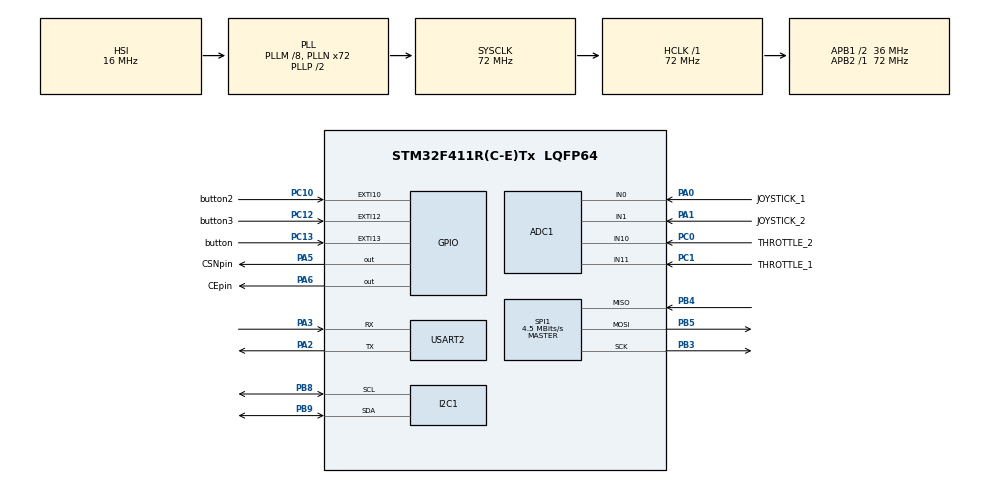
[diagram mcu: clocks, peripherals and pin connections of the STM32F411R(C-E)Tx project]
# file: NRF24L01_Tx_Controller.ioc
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ADC1.Channel-0\#ChannelRegularConversion=ADC_CHANNEL_0
ADC1.Channel-29\#ChannelRegularConversion=ADC_CHANNEL_1
ADC1.Channel-30\#ChannelRegularConversion=ADC_CHANNEL_10
ADC1.Channel-31\#ChannelRegularConversion=ADC_CHANNEL_11
ADC1.ClockPrescaler=ADC_CLOCK_SYNC_PCLK_DIV2
ADC1.ContinuousConvMode=DISABLE
ADC1.DiscontinuousConvMode=ENABLE
ADC1.InjNumberOfConversion=0
ADC1.NbrOfConversion=4
ADC1.NbrOfConversionFlag=1
ADC1.Rank-0\#ChannelRegularConversion=1
ADC1.Rank-29\#ChannelRegularConversion=2
ADC1.Rank-30\#ChannelRegularConversion=3
ADC1.Rank-31\#ChannelRegularConversion=4
ADC1.SamplingTime-0\#ChannelRegularConversion=ADC_SAMPLETIME_56CYCLES
ADC1.SamplingTime-29\#ChannelRegularConversion=ADC_SAMPLETIME_56CYCLES
ADC1.SamplingTime-30\#ChannelRegularConversion=ADC_SAMPLETIME_56CYCLES
ADC1.SamplingTime-31\#ChannelRegularConversion=ADC_SAMPLETIME_56CYCLES
ADC1.master=1
Mcu.Family=STM32F4
Mcu.Name=STM32F411R(C-E)Tx
Mcu.Package=LQFP64
NVIC.ADC_IRQn=true\:0\:0\:false\:false\:true\:true\:true
NVIC.EXTI15_10_IRQn=true\:0\:0\:false\:false\:true\:true\:true
NVIC.PriorityGroup=NVIC_PRIORITYGROUP_4
NVIC.USART2_IRQn=true\:0\:0\:false\:false\:true\:true\:true
PA0-WKUP.GPIO_Label=JOYSTICK_1
PA0-WKUP.Signal=ADCx_IN0
PA1.GPIO_Label=JOYSTICK_2
PA1.Signal=ADCx_IN1
PA13.Mode=Serial_Wire
PA13.Signal=SYS_JTMS-SWDIO
PA14.Mode=Serial_Wire
PA14.Signal=SYS_JTCK-SWCLK
PA2.Mode=Asynchronous
PA2.Signal=USART2_TX
PA3.Mode=Asynchronous
PA3.Signal=USART2_RX
PA5.GPIO_Label=CSNpin
PA5.Signal=GPIO_Output
PA6.GPIO_Label=CEpin
PA6.Signal=GPIO_Output
PB3.Mode=Full_Duplex_Master
PB3.Signal=SPI1_SCK
PB4.Mode=Full_Duplex_Master
PB4.Signal=SPI1_MISO
PB5.Mode=Full_Duplex_Master
PB5.Signal=SPI1_MOSI
PB8.Mode=I2C
PB8.Signal=I2C1_SCL
PB9.Mode=I2C
PB9.Signal=I2C1_SDA
PC0.GPIO_Label=THROTTLE_2
PC0.Signal=ADCx_IN10
PC1.GPIO_Label=THROTTLE_1
PC1.Signal=ADCx_IN11
PC10.GPIO_Label=button2
PC10.GPIO_ModeDefaultEXTI=GPIO_MODE_IT_FALLING
PC10.GPIO_PuPd=GPIO_PULLUP
PC10.Signal=GPXTI10
PC12.GPIO_Label=button3
PC12.GPIO_ModeDefaultEXTI=GPIO_MODE_IT_FALLING
PC12.GPIO_PuPd=GPIO_PULLUP
PC12.Signal=GPXTI12
PC13-ANTI_TAMP.GPIO_Label=button
PC13-ANTI_TAMP.Signal=GPXTI13
PH0\ -\ OSC_IN.Mode=HSE-External-Oscillator
PH0\ -\ OSC_IN.Signal=RCC_OSC_IN
PH1\ -\ OSC_OUT.Mode=HSE-External-Oscillator
PH1\ -\ OSC_OUT.Signal=RCC_OSC_OUT
ProjectManager.HeapSize=0x2000
ProjectManager.StackSize=0x4000
ProjectManager.TargetToolchain=EWARM V8.32
RCC.48MHZClocksFreq_Value=36000000
RCC.AHBFreq_Value=72000000
RCC.APB1CLKDivider=RCC_HCLK_DIV2
RCC.APB1Freq_Value=36000000
RCC.APB1TimFreq_Value=72000000
RCC.APB2Freq_Value=72000000
RCC.APB2TimFreq_Value=72000000
RCC.CortexFreq_Value=72000000
RCC.HCLKFreq_Value=72000000
RCC.HSE_VALUE=25000000
RCC.HSI_VALUE=16000000
RCC.LSE_VALUE=32768
RCC.PLLM=8
RCC.PLLN=72
RCC.SYSCLKFreq_VALUE=72000000
RCC.SYSCLKSource=RCC_SYSCLKSOURCE_PLLCLK
RCC.VCOOutputFreq_Value=144000000
SH.ADCx_IN0.0=ADC1_IN0,IN0
SH.ADCx_IN1.0=ADC1_IN1,IN1
SH.ADCx_IN10.0=ADC1_IN10,IN10
SH.ADCx_IN11.0=ADC1_IN11,IN11
SPI1.BaudRatePrescaler=SPI_BAUDRATEPRESCALER_16
SPI1.CalculateBaudRate=4.5 MBits/s
SPI1.Direction=SPI_DIRECTION_2LINES
SPI1.Mode=SPI_MODE_MASTER
SPI1.VirtualType=VM_MASTER
USART2.VirtualMode=VM_ASYNC
board=custom

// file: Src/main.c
/* USER CODE BEGIN Header */
/**
  ******************************************************************************
  * @file           : main.c
  * @brief          : Main program body
  ******************************************************************************
  * @attention
  *
  * <h2><center>&copy; Copyright (c) 2020 STMicroelectronics.
  * All rights reserved.</center></h2>
  *
  * This software component is licensed by ST under BSD 3-Clause license,
  * the "License"; You may not use this file except in compliance with the
  * License. You may obtain a copy of the License at:
  *                        opensource.org/licenses/BSD-3-Clause
  *
  ******************************************************************************
  */
/* USER CODE END Header */

#include "main.h"

/* USER CODE BEGIN Includes */
#include "stm32f4xx.h"
#include "tm_stm32_nrf24l01.h"
#include "tm_stm32_delay.h"
#include "nRF_Transmit.h"
#include "key_Debug.h"
#include "JOYSTICK.h"
#include "i2c-lcd.h"
//#include "tm_stm32_usart.h"
#include <stdio.h>
#include <stdlib.h>
#include <string.h>
/* USER CODE END Includes */

/* USER CODE BEGIN PD */
#define Roll_Set_Point                       'r'
#define THROTTLE                            't'
#define Pitch_Set_Point                      'p'
#define Yaw_Set_Point                       'y'

#define _Pitch                                    0
#define _Roll                                      1
#define _Yaw                                      3
#define _Throttle                                  2
#define EXTI_PIN_PC12                        4096                       // External Interrupt Pin 12
#define EXTI_PIN_PC10                        1024                       // External Interrupt Pin 10
/* USER CODE END PD */

ADC_HandleTypeDef hadc1;

I2C_HandleTypeDef hi2c1;

SPI_HandleTypeDef hspi1;

UART_HandleTypeDef huart2;

void SystemClock_Config(void);
static void MX_GPIO_Init(void);
static void MX_USART2_UART_Init(void);
static void MX_SPI1_Init(void);
static void MX_ADC1_Init(void);
static void MX_I2C1_Init(void);

/* USER CODE BEGIN 0 */

/* My address */
uint8_t MyAddress[] = {
	0xE7,
	0xE7,
	0xE7,
	0xE7,
	0xE7
};

/* Receiver address */
uint8_t TxAddress[] = {
	0x7E,
	0x7E,
	0x7E,
	0x7E,
	0x7E
};

// nRF 통신 변수//
uint8_t dataIn[8];            //  TRANSMIT DATA BUFFER

//디버깅 모드 변수//
uint8_t key_input=0;
uint8_t key_tr=0;

// ADC  변수
int8_t ADC_DATA[4];   // ADC DATA BUFFER

// Interrupt variable
uint8_t button_flag=0;          // pc13 button flag
uint8_t button_flag2=0;        // pc14 button flag
uint8_t button_flag3=0;       //  pc15 button flag

// in pid값
float In_Roll_P=0, In_Roll_I=0, In_Roll_D=0;
float In_Pitch_P=0, In_Pitch_I=0, In_Pitch_D=0;
float In_Yaw_P=0, In_Yaw_I=0, In_Yaw_D=0;

// out pid값
float Out_Roll_P=0, Out_Roll_I=0, Out_Roll_D=0;
float Out_Pitch_P=0, Out_Pitch_I=0, Out_Pitch_D=0;
float Out_Yaw_P=0, Out_Yaw_I=0, Out_Yaw_D=0;

// throttle 변수
float Throttle=0;

//SettingPoint
int Set_Point[3];       // Roll_SetPoint, Pitch_SetPoint, Yaw_SetPoint

int count=1;

int fputc(int ch ,FILE *f)
{
 HAL_UART_Transmit(&huart2,(uint8_t*)&ch,1,0xFFFF);
 return ch;
}

void Display_UI()
{
   printf("\r\n  --------------Enter Debugging Mode---------------\r\n");
   printf("  ------------------------------------------------------\r\n");
   printf("     Roll             Pitch                Yaw\r\n");
   printf("  ------------------------------------------------------\r\n");
   printf(" [1].IN_R_P : %.4f     [2].IN_P_P : %.4f      [3].IN_Y_P : %.4f\r\n",In_Roll_P,In_Pitch_P,In_Yaw_P);
   printf(" [4].IN_R_I : %.4f     [5].IN_P_I : %.4f      [6].IN_Y_I : %.4f\r\n",In_Roll_I,In_Pitch_I,In_Yaw_I);
   printf(" [7].IN_R_D : %.4f     [8].IN_P_D : %.4f      [9].IN_Y_D : %.4f\r\n",In_Roll_D,In_Pitch_D,In_Yaw_D);
   printf("  ------------------------------------------------------\r\n");
   printf(" [A].OUT_R_P : %.4f     [B].OUT_P_P : %.4f      [C].OUT_Y_P : %.4f\r\n",Out_Roll_P, Out_Pitch_P, Out_Yaw_P);
   printf(" [D].OUT_R_I : %.4f     [E].OUT_P_I : %.4f      [F].OUT_Y_I : %.4f\r\n",Out_Roll_I, Out_Pitch_I, Out_Yaw_I);
   printf(" [G].OUT_R_D : %.4f     [H].OUT_P_D : %.4f      [I].OUT_Y_D : %.4f\r\n",Out_Roll_D, Out_Pitch_D, Out_Yaw_D);
   printf("  ------------------------------------------------------\r\n");

   printf(" [T].Throttle : %.0f                         [x].ESCAPE\r\n",Throttle);
   printf(" [R].Set_Roll : %d    [P].Set_Pitch : %d    [Y].Set_Yaw : %d\r\n",Set_Point[0],Set_Point[1],Set_Point[2]);

}

void PID_THROTTLE_Transmit(uint8_t key_input, uint8_t key_tr, float* data)
{
  key_tr = key_input;
  key_input='\0';
  printf("[%c]: ",key_tr);

  Keyboard_Debug(data,key_tr);

  nRF24_Transmit(data,key_tr);
  nRF24_Transmit_Status();
  key_tr = '\0';
}

/* USER CODE END 0 */

int main(void)
{
  /* USER CODE BEGIN 1 */
  uint8_t Mode_Flag = Debug_Mode_Flag;   // START DEBUG MODE
  uint8_t test_buf[8];
  uint8_t test_buf1[15];
  float test_buf2;
  uint8_t exit_flag=0;
  uint8_t Lcd_buffer[15];

  /* USER CODE END 1 */

  /* MCU Configuration--------------------------------------------------------*/

  /* Reset of all peripherals, Initializes the Flash interface and the Systick. */
  HAL_Init();

  /* Configure the system clock */
  SystemClock_Config();

  /* Initialize all configured peripherals */
  MX_GPIO_Init();
  MX_USART2_UART_Init();
  MX_SPI1_Init();
  MX_ADC1_Init();
  MX_I2C1_Init();
  /* USER CODE BEGIN 2 */
  HAL_Delay(1);
  HAL_ADC_Start_IT(&hadc1);
  lcd_init();
  TM_NRF24L01_Init(35,15);
  TM_NRF24L01_SetRF(TM_NRF24L01_DataRate_250k, TM_NRF24L01_OutputPower_0dBm);

  /* Set my address, 5 bytes */
  TM_NRF24L01_SetMyAddress(MyAddress);

  /* Set TX address, 5 bytes */
  TM_NRF24L01_SetTxAddress(TxAddress);

  /* Reset counter */
  TM_DELAY_SetTime(2001);

  /* USER CODE END 2 */

  /* Infinite loop */
  while (1)
  {

    /* USER CODE BEGIN 3 */

    /*========================DRIVE MODE===================*/

   if(button_flag == Drive_Mode_Flag)
   {

     if(Mode_Flag==Debug_Mode_Flag){
       Print_Mode(&Mode_Flag);
     }
     //Print_ADC_DEBUG();

      // ======== Roll Set Point Transmit ======== //
       printf("Roll : %d",ADC_DATA[1]);
       sprintf((char*)Lcd_buffer,"R:%3d",ADC_DATA[1]);
       lcd_put_cur(0,0);
       lcd_send_string((char*)Lcd_buffer);

       memset(Lcd_buffer, '\0', 15);
       nRF24_Transmit_ADC(&ADC_DATA[1],Roll_Set_Point);

     //======================================//

     // ======== Throttle Transmit ======== //
       printf("   Th : %d",ADC_DATA[2]);
       sprintf((char*)Lcd_buffer,"T:%3d",ADC_DATA[2]);
       lcd_put_cur(1,6);
       lcd_send_string((char*)Lcd_buffer);

       memset(Lcd_buffer, '\0', 15);
       nRF24_Transmit_ADC(&ADC_DATA[2],THROTTLE);
     //======================================//

     // ======== Pitch Set Point Transmit ======== //
       printf("   Pitch : %d",ADC_DATA[0]);
       sprintf((char*)Lcd_buffer,"P:%3d",ADC_DATA[0]);
       lcd_put_cur(0,6);
       lcd_send_string((char*)Lcd_buffer);

       memset(Lcd_buffer, '\0', 15);
       nRF24_Transmit_ADC(&ADC_DATA[0],Pitch_Set_Point);
     //======================================//

     // ======== Yaw Set Point Transmit ========== //
       printf("   Yaw :  %d",ADC_DATA[3]);
       sprintf((char*)Lcd_buffer,"Y:%3d",ADC_DATA[3]);
       lcd_put_cur(1,0);
       lcd_send_string((char*)Lcd_buffer);

       memset(Lcd_buffer, '\0', 15);
       nRF24_Transmit_ADC(&ADC_DATA[3],Yaw_Set_Point);
     //======================================//

       printf("\r\n");
       HAL_Delay(10);

    }

   /*========================DEBUG MODE===================*/

  else if(button_flag == Debug_Mode_Flag)
  {
    lcd_put_cur(0,0);
    lcd_send_string("DEBUG MODE");

    memset(Lcd_buffer, '\0', 15);
     if(Mode_Flag==Drive_Mode_Flag){
         Print_Mode(&Mode_Flag);
     }
     lcd_clear();
     INPUT_CONTORLLER();
     INPUT_THROTTLE();
     HAL_Delay(100);
  }

   //==============KEYBOARD INPUT MODE==============//

   else if(button_flag == Key_Mode_Flag)
   {
          lcd_put_cur(0,0);
          lcd_send_string("KEYBOARD INPUT");

          memset(Lcd_buffer, '\0', 15);
          if(Mode_Flag==Key_Mode_Flag){
             Print_Mode(&Mode_Flag);
          }
          HAL_UART_Receive(&huart2,&key_input,sizeof(key_input),10);
          if(key_input == 'd')      //디버깅 모드로 진입
          {
            exit_flag=0;
            while(exit_flag ==0)
            {
 //            memset(test_buf,'\0',8);
             nRF24_Transmit_Mode_Change(key_input);
             TM_NRF24L01_PowerUpRx();
              HAL_Delay(20);
       //     if((HAL_GetTick()%20)==0)
       //     {
              TM_NRF24L01_GetData(test_buf1);

       //       test_buf2 = atof((char*)test_buf1[0]);
       //        test_buf1[1] = atof((char*)test_buf);
       //        test_buf1[2] = atof((char*)test_buf);
       //  //    printf("test : %.0f\r\n",test_buf2);

                //HAL_Delay(10);
               printf("test : %s\r\n", test_buf1);
        //    }
            memset(test_buf1,'\0',15);

//             TM_NRF24L01_PowerUpRx();
//
//             HAL_Delay(1000);
//             TM_NRF24L01_GetData(test_buf);
//            // printf("Receive data : %s",test_buf);
             Display_UI();

            while(!(HAL_UART_Receive(&huart2,&key_input,sizeof(key_input),10)==HAL_OK));
            switch(key_input)
            {

              case 't':
                 PID_THROTTLE_Transmit(key_input, key_tr, &Throttle);            // Throttle Input and Transmit
                 break;

               case 'T':
                 PID_THROTTLE_Transmit(key_input, key_tr, &Throttle);            // Throttle Input and Transmit
                 break;

             // ============================== IN PID DATA ============================== //
               case '1':
                  HAL_Delay(100);
                  PID_THROTTLE_Transmit(key_input, key_tr, &In_Roll_P);            //  IN_Roll_P Input and Transmit
                  break;

               case '2':
                  PID_THROTTLE_Transmit(key_input, key_tr, &In_Pitch_P);           // IN_Pitch_P Input and Transmit
                  break;

               case '3':
                  PID_THROTTLE_Transmit(key_input, key_tr, &In_Yaw_P);             //  IN_Yaw_P Input and Transmit
                  break;

               case '4':
                  PID_THROTTLE_Transmit(key_input, key_tr, &In_Roll_I);               //  IN_Roll_I Input and Transmit
                  break;

               case '5':
                  PID_THROTTLE_Transmit(key_input, key_tr, &In_Pitch_I);             //  IN_Pitch_I Input and Transmit
                  break;

               case '6':
                  PID_THROTTLE_Transmit(key_input, key_tr, &In_Yaw_I);              //  IN_Yaw_I Input and Transmit
                  break;

               case '7':
                  PID_THROTTLE_Transmit(key_input, key_tr, &In_Roll_D);             //  IN_Roll_D Input and Transmit
                  break;

               case '8':
                  PID_THROTTLE_Transmit(key_input, key_tr, &In_Pitch_D);           //  IN_Pitch_D Input and Transmit
                  break;

               case '9':
                  PID_THROTTLE_Transmit(key_input, key_tr, &In_Yaw_D);             //  IN_Yaw_D Input and Transmit
                  break;

              // ========================================================================= //

              // ============================== OUT PID DATA ============================== //

              case 'A':
                  PID_THROTTLE_Transmit(key_input, key_tr, &Out_Roll_P);            //  OUT_Roll_P Input and Transmit
                  break;

              case 'a':
                  PID_THROTTLE_Transmit(key_input, key_tr, &Out_Roll_P);            //  OUT_Roll_P Input and Transmit
                  break;

               case 'B':
                  PID_THROTTLE_Transmit(key_input, key_tr, &Out_Pitch_P);           // OUT_Pitch_P Input and Transmit
                  break;

               case 'b':
                  PID_THROTTLE_Transmit(key_input, key_tr, &Out_Pitch_P);           // OUT_Pitch_P Input and Transmit
                  break;

               case 'C':
                  PID_THROTTLE_Transmit(key_input, key_tr, &Out_Yaw_P);             //  OUT_Yaw_P Input and Transmit
                  break;

               case 'c':
                  PID_THROTTLE_Transmit(key_input, key_tr, &Out_Yaw_P);             //  OUT_Yaw_P Input and Transmit
                  break;

               case 'D':
                  PID_THROTTLE_Transmit(key_input, key_tr, &Out_Roll_I);              //  OUT_Roll_I Input and Transmit
                  break;

               case 'E':
                  PID_THROTTLE_Transmit(key_input, key_tr, &Out_Pitch_I);            //  OUT_Pitch_I Input and Transmit
                  break;

               case 'e':
                  PID_THROTTLE_Transmit(key_input, key_tr, &Out_Pitch_I);            //  OUT_Pitch_I Input and Transmit
                  break;

               case 'F':
                  PID_THROTTLE_Transmit(key_input, key_tr, &Out_Yaw_I);              //  OUT_Yaw_I Input and Transmit
                  break;

                case 'f':
                  PID_THROTTLE_Transmit(key_input, key_tr, &Out_Yaw_I);              //  OUT_Yaw_I Input and Transmit
                  break;

               case 'G':
                  PID_THROTTLE_Transmit(key_input, key_tr, &Out_Roll_D);             //  OUT_Roll_D Input and Transmit
                  break;

               case 'g':
                  PID_THROTTLE_Transmit(key_input, key_tr, &Out_Roll_D);             //  OUT_Roll_D Input and Transmit
                  break;

               case 'H':
                  PID_THROTTLE_Transmit(key_input, key_tr, &Out_Pitch_D);           //  OUT_Pitch_D Input and Transmit
                  break;

               case 'h':
                  PID_THROTTLE_Transmit(key_input, key_tr, &Out_Pitch_D);           //  OUT_Pitch_D Input and Transmit
                  break;

               case 'I':
                  PID_THROTTLE_Transmit(key_input, key_tr, &Out_Yaw_D);             //  OUT_Yaw_D Input and Transmit
                  break;

               case 'i':
                  PID_THROTTLE_Transmit(key_input, key_tr, &Out_Yaw_D);             //  OUT_Yaw_D Input and Transmit
                  break;

               // ========================================================================= //

                case 'q':
                  key_tr = key_input;
                  key_input='\0';

//                   while(!(HAL_UART_Receive(&huart2,&key_input,sizeof(key_input),10)==HAL_OK))
//                   {
//                      if(count <= 1000)
//                      {

                        nRF24_Transmit_ASCII(key_tr);
                        nRF24_Transmit_Status();

//                        TM_NRF24L01_PowerUpRx();
//  //                     HAL_Delay(100);
////                       if((HAL_GetTick()%20)==0)
////                       {
//                        TM_NRF24L01_GetData(test_buf1);
//
//
//                 //       test_buf2 = atof((char*)test_buf1[0]);
//                //        test_buf1[1] = atof((char*)test_buf);
//                //        test_buf1[2] = atof((char*)test_buf);
//                //  //    printf("test : %.0f\r\n",test_buf2);
//
//                      //HAL_Delay(10);
//                     printf("test : %s\r\n", test_buf1);
//                     }

//                        count++;
//                      }
//                    }
//                    count=1;

                   key_tr='\0';
                   break;

                // ============================== SET POINT DATA ============================== //

               // Roll Set Point Input and Transmit
                case 'r':
                  key_tr = key_input;
                  key_input = '\0';
                  printf("Roll_SetPoint : ");

                  Keyboard_Debug_Set_Point(&Set_Point[0]);
                  nRF24_Transmit_Set_Point(&Set_Point[0],key_tr);
                  nRF24_Transmit_Status();

                  key_tr ='\0';
                  break;

                 case 'R':
                  key_tr = key_input;
                  key_input = '\0';
                  printf("Roll_SetPoint : ");

                  Keyboard_Debug_Set_Point(&Set_Point[0]);
                  nRF24_Transmit_Set_Point(&Set_Point[0],key_tr);
                  nRF24_Transmit_Status();

                  key_tr ='\0';
                  break;

               // Pitch Set Point Input and Transmit
                case 'p':
                  key_tr = key_input;
                  key_input = '\0';
                  printf("Pitch_SetPoint : ");

                  Keyboard_Debug_Set_Point(&Set_Point[1]);
                  nRF24_Transmit_Set_Point(&Set_Point[1],key_tr);
                  nRF24_Transmit_Status();

                  key_tr ='\0';
                  break;

                case 'P':
                  key_tr = key_input;
                  key_input = '\0';
                  printf("Pitch_SetPoint : ");

                  Keyboard_Debug_Set_Point(&Set_Point[1]);
                  nRF24_Transmit_Set_Point(&Set_Point[1],key_tr);
                  nRF24_Transmit_Status();

                  key_tr ='\0';
                  break;

                // Yaw Set Point Input and Transmit
                case 'y':
                  key_tr = key_input;
                  key_input = '\0';
                  printf("Yaw_SetPoint : ");

                  Keyboard_Debug_Set_Point(&Set_Point[2]);
                  nRF24_Transmit_Set_Point(&Set_Point[2],key_tr);
                  nRF24_Transmit_Status();

                  key_tr ='\0';
                  break;

                case 'Y':
                  key_tr = key_input;
                  key_input = '\0';
                  printf("Yaw_SetPoint : ");

                  Keyboard_Debug_Set_Point(&Set_Point[2]);
                  nRF24_Transmit_Set_Point(&Set_Point[2],key_tr);
                  nRF24_Transmit_Status();

                  key_tr ='\0';
                  break;

                // ========================================================================= //

                // Exit Keyboard Debug
                case 'x':
                  key_tr = key_input;
                  key_input = '\0';

                  nRF24_Transmit_Mode_Change(key_tr);
                  //nRF24_Transmit_Status();
                  key_tr='\0';
                  Throttle=0;
                  button_flag=0;
                  exit_flag = 1;
                  lcd_clear();
                  break;

                 default:
                  printf("\r\nError Number\r\n");
                  break;
              }  // switch
            key_input = '\0';
            }   // while

          }     //   if
        }       // else if
     else
     {
       button_flag = Drive_Mode_Flag;
     }
  }
  /* USER CODE END 3 */
}

void SystemClock_Config(void)
{
  RCC_OscInitTypeDef RCC_OscInitStruct = {0};
  RCC_ClkInitTypeDef RCC_ClkInitStruct = {0};

  /** Configure the main internal regulator output voltage
  */
  __HAL_RCC_PWR_CLK_ENABLE();
  __HAL_PWR_VOLTAGESCALING_CONFIG(PWR_REGULATOR_VOLTAGE_SCALE1);
  /** Initializes the CPU, AHB and APB busses clocks
  */
  RCC_OscInitStruct.OscillatorType = RCC_OSCILLATORTYPE_HSI;
  RCC_OscInitStruct.HSIState = RCC_HSI_ON;
  RCC_OscInitStruct.HSICalibrationValue = RCC_HSICALIBRATION_DEFAULT;
  RCC_OscInitStruct.PLL.PLLState = RCC_PLL_ON;
  RCC_OscInitStruct.PLL.PLLSource = RCC_PLLSOURCE_HSI;
  RCC_OscInitStruct.PLL.PLLM = 8;
  RCC_OscInitStruct.PLL.PLLN = 72;
  RCC_OscInitStruct.PLL.PLLP = RCC_PLLP_DIV2;
  RCC_OscInitStruct.PLL.PLLQ = 4;
  if (HAL_RCC_OscConfig(&RCC_OscInitStruct) != HAL_OK)
  {
    Error_Handler();
  }
  /** Initializes the CPU, AHB and APB busses clocks
  */
  RCC_ClkInitStruct.ClockType = RCC_CLOCKTYPE_HCLK|RCC_CLOCKTYPE_SYSCLK
                              |RCC_CLOCKTYPE_PCLK1|RCC_CLOCKTYPE_PCLK2;
  RCC_ClkInitStruct.SYSCLKSource = RCC_SYSCLKSOURCE_PLLCLK;
  RCC_ClkInitStruct.AHBCLKDivider = RCC_SYSCLK_DIV1;
  RCC_ClkInitStruct.APB1CLKDivider = RCC_HCLK_DIV2;
  RCC_ClkInitStruct.APB2CLKDivider = RCC_HCLK_DIV1;

  if (HAL_RCC_ClockConfig(&RCC_ClkInitStruct, FLASH_LATENCY_2) != HAL_OK)
  {
    Error_Handler();
  }
}

static void MX_ADC1_Init(void)
{

  ADC_ChannelConfTypeDef sConfig = {0};

  /** Configure the global features of the ADC (Clock, Resolution, Data Alignment and number of conversion)
  */
  hadc1.Instance = ADC1;
  hadc1.Init.ClockPrescaler = ADC_CLOCK_SYNC_PCLK_DIV2;
  hadc1.Init.Resolution = ADC_RESOLUTION_12B;
  hadc1.Init.ScanConvMode = ENABLE;
  hadc1.Init.ContinuousConvMode = DISABLE;
  hadc1.Init.DiscontinuousConvMode = ENABLE;
  hadc1.Init.NbrOfDiscConversion = 1;
  hadc1.Init.ExternalTrigConvEdge = ADC_EXTERNALTRIGCONVEDGE_NONE;
  hadc1.Init.ExternalTrigConv = ADC_SOFTWARE_START;
  hadc1.Init.DataAlign = ADC_DATAALIGN_RIGHT;
  hadc1.Init.NbrOfConversion = 4;
  hadc1.Init.DMAContinuousRequests = DISABLE;
  hadc1.Init.EOCSelection = ADC_EOC_SINGLE_CONV;
  if (HAL_ADC_Init(&hadc1) != HAL_OK)
  {
    Error_Handler();
  }
  /** Configure for the selected ADC regular channel its corresponding rank in the sequencer and its sample time.
  */
  sConfig.Channel = ADC_CHANNEL_0;
  sConfig.Rank = 1;
  sConfig.SamplingTime = ADC_SAMPLETIME_56CYCLES;
  if (HAL_ADC_ConfigChannel(&hadc1, &sConfig) != HAL_OK)
  {
    Error_Handler();
  }
  /** Configure for the selected ADC regular channel its corresponding rank in the sequencer and its sample time.
  */
  sConfig.Channel = ADC_CHANNEL_1;
  sConfig.Rank = 2;
  if (HAL_ADC_ConfigChannel(&hadc1, &sConfig) != HAL_OK)
  {
    Error_Handler();
  }
  /** Configure for the selected ADC regular channel its corresponding rank in the sequencer and its sample time.
  */
  sConfig.Channel = ADC_CHANNEL_10;
  sConfig.Rank = 3;
  if (HAL_ADC_ConfigChannel(&hadc1, &sConfig) != HAL_OK)
  {
    Error_Handler();
  }
  /** Configure for the selected ADC regular channel its corresponding rank in the sequencer and its sample time.
  */
  sConfig.Channel = ADC_CHANNEL_11;
  sConfig.Rank = 4;
  if (HAL_ADC_ConfigChannel(&hadc1, &sConfig) != HAL_OK)
  {
    Error_Handler();
  }

}

static void MX_I2C1_Init(void)
{

  hi2c1.Instance = I2C1;
  hi2c1.Init.ClockSpeed = 100000;
  hi2c1.Init.DutyCycle = I2C_DUTYCYCLE_2;
  hi2c1.Init.OwnAddress1 = 0;
  hi2c1.Init.AddressingMode = I2C_ADDRESSINGMODE_7BIT;
  hi2c1.Init.DualAddressMode = I2C_DUALADDRESS_DISABLE;
  hi2c1.Init.OwnAddress2 = 0;
  hi2c1.Init.GeneralCallMode = I2C_GENERALCALL_DISABLE;
  hi2c1.Init.NoStretchMode = I2C_NOSTRETCH_DISABLE;
  if (HAL_I2C_Init(&hi2c1) != HAL_OK)
  {
    Error_Handler();
  }

}

static void MX_SPI1_Init(void)
{

  /* SPI1 parameter configuration*/
  hspi1.Instance = SPI1;
  hspi1.Init.Mode = SPI_MODE_MASTER;
  hspi1.Init.Direction = SPI_DIRECTION_2LINES;
  hspi1.Init.DataSize = SPI_DATASIZE_8BIT;
  hspi1.Init.CLKPolarity = SPI_POLARITY_LOW;
  hspi1.Init.CLKPhase = SPI_PHASE_1EDGE;
  hspi1.Init.NSS = SPI_NSS_SOFT;
  hspi1.Init.BaudRatePrescaler = SPI_BAUDRATEPRESCALER_16;
  hspi1.Init.FirstBit = SPI_FIRSTBIT_MSB;
  hspi1.Init.TIMode = SPI_TIMODE_DISABLE;
  hspi1.Init.CRCCalculation = SPI_CRCCALCULATION_DISABLE;
  hspi1.Init.CRCPolynomial = 10;
  if (HAL_SPI_Init(&hspi1) != HAL_OK)
  {
    Error_Handler();
  }

}

static void MX_USART2_UART_Init(void)
{

  huart2.Instance = USART2;
  huart2.Init.BaudRate = 115200;
  huart2.Init.WordLength = UART_WORDLENGTH_8B;
  huart2.Init.StopBits = UART_STOPBITS_1;
  huart2.Init.Parity = UART_PARITY_NONE;
  huart2.Init.Mode = UART_MODE_TX_RX;
  huart2.Init.HwFlowCtl = UART_HWCONTROL_NONE;
  huart2.Init.OverSampling = UART_OVERSAMPLING_16;
  if (HAL_UART_Init(&huart2) != HAL_OK)
  {
    Error_Handler();
  }

}

static void MX_GPIO_Init(void)
{
  GPIO_InitTypeDef GPIO_InitStruct = {0};

  /* GPIO Ports Clock Enable */
  __HAL_RCC_GPIOC_CLK_ENABLE();
  __HAL_RCC_GPIOH_CLK_ENABLE();
  __HAL_RCC_GPIOA_CLK_ENABLE();
  __HAL_RCC_GPIOB_CLK_ENABLE();

  /*Configure GPIO pin Output Level */
  HAL_GPIO_WritePin(GPIOA, CSNpin_Pin|CEpin_Pin, GPIO_PIN_RESET);

  /*Configure GPIO pin : button_Pin */
  GPIO_InitStruct.Pin = button_Pin;
  GPIO_InitStruct.Mode = GPIO_MODE_IT_RISING;
  GPIO_InitStruct.Pull = GPIO_NOPULL;
  HAL_GPIO_Init(button_GPIO_Port, &GPIO_InitStruct);

  /*Configure GPIO pins : CSNpin_Pin CEpin_Pin */
  GPIO_InitStruct.Pin = CSNpin_Pin|CEpin_Pin;
  GPIO_InitStruct.Mode = GPIO_MODE_OUTPUT_PP;
  GPIO_InitStruct.Pull = GPIO_NOPULL;
  GPIO_InitStruct.Speed = GPIO_SPEED_FREQ_LOW;
  HAL_GPIO_Init(GPIOA, &GPIO_InitStruct);

  /*Configure GPIO pins : button2_Pin button3_Pin */
  GPIO_InitStruct.Pin = button2_Pin|button3_Pin;
  GPIO_InitStruct.Mode = GPIO_MODE_IT_FALLING;
  GPIO_InitStruct.Pull = GPIO_PULLUP;
  HAL_GPIO_Init(GPIOC, &GPIO_InitStruct);

  /* EXTI interrupt init*/
  HAL_NVIC_SetPriority(EXTI15_10_IRQn, 0, 0);
  HAL_NVIC_EnableIRQ(EXTI15_10_IRQn);

}

/* USER CODE BEGIN 4 */

/*==================ADC CALLBACK===================*/
void HAL_ADC_ConvCpltCallback(ADC_HandleTypeDef* hadc)
{
   static uint8_t adc_count;
   int temp;
   if(adc_count == _Throttle) //
   {
      ADC_DATA[adc_count] =(( HAL_ADC_GetValue(hadc)/41)-100)*(-1);
      //ADC_DATA[adc_count] =HAL_ADC_GetValue(hadc);
   }
   else if(adc_count == _Roll)
   {

     temp = (( HAL_ADC_GetValue(hadc)/58)-35);
     if(temp <= 1 && temp >= -1)
     {
       temp=0;
     }

      ADC_DATA[adc_count] = temp;
   }

   else if(adc_count == _Yaw)
   {
     temp = (( HAL_ADC_GetValue(hadc)/58)-35)*(-1);
     if(temp < 2  && temp > -2)
     {
       temp=0;
     }

      ADC_DATA[adc_count] = temp;
      //ADC_DATA[adc_count] =HAL_ADC_GetValue(hadc);
   }

   else                                                                                 // Pitch
   {
     temp = (( HAL_ADC_GetValue(hadc)/58)-35)*(-1);
     if(temp <= 1 && temp >= -1)
     {
       temp=0;
     }

      ADC_DATA[adc_count] = temp;
      //ADC_DATA[adc_count] =HAL_ADC_GetValue(hadc);
   }
   adc_count++;

   if(adc_count >3)
   {
     adc_count=0;
   }

    HAL_ADC_Start_IT(&hadc1);
}
///*=================GPIO CALLBACK===================*/
 void HAL_GPIO_EXTI_Callback(uint16_t GPIO_Pin)
 {
    static uint32_t temp;// debounce time
   if(GPIO_Pin==button_Pin)
   {
     if((HAL_GetTick()-temp)>500)
     {
      // button_flag = button_flag;
       button_flag++;
       if(button_flag >= 3)
       {
         button_flag = 0;
       }
     }
   }

//   else if(GPIO_Pin == EXTI_PIN_PC10)
//   {
//     if((HAL_GetTick()-temp)>500)
//     {
//       button_flag2 = 1;
//     }
//   }
//
//   else if(GPIO_Pin == EXTI_PIN_PC12)
//   {
//     if((HAL_GetTick()-temp)>500)
//     {
//       button_flag3 = 1;
//     }
//   }
      while(HAL_GPIO_ReadPin(GPIOC, GPIO_PIN_13 | GPIO_PIN_14 | GPIO_PIN_15)==GPIO_PIN_RESET);
      temp = HAL_GetTick();
 }

/* USER CODE END 4 */

void Error_Handler(void)
{
}

/************************ (C) COPYRIGHT STMicroelectronics *****END OF FILE****/
